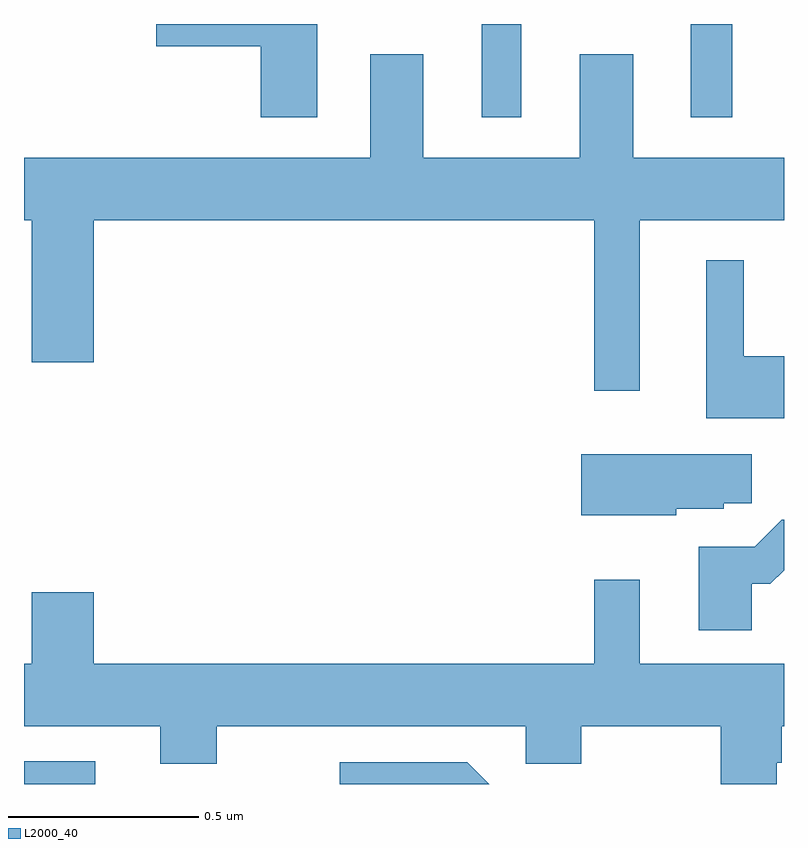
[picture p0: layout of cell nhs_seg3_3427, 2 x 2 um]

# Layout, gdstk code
import gdstk
lib = gdstk.Library(unit=1e-6, precision=1e-09)
def R(c, l, rs):  # rectangles x0, y0, x1, y1
    for r in rs: c.add(gdstk.rectangle(r[:2], r[2:], *l))
def P(c, l, *ps):  # polygons
    for p in ps: c.add(gdstk.Polygon(p, *l))
L2000_40 = (2000, 40)

nhs_seg3_3427 = lib.new_cell('nhs_seg3_3427')
R(nhs_seg3_3427, L2000_40, [(153,731.4,153.187,731.46), (154.205,733.155,154.309,733.4), (154.754,733.155,154.864,733.4)])
P(nhs_seg3_3427, L2000_40, [(153.772,733.4),(153.348,733.4),(153.348,733.342),(153.623,733.342),(153.623,733.155),(153.772,733.155)],
  [(154.621,732.884),(155,732.884),(155,733.048),(154.603,733.048),(154.603,733.321),(154.463,733.321),(154.463,733.048),(154.051,733.048),(154.051,733.321),(153.911,733.321),(153.911,733.048),(153,733.048),(153,732.884),(153.02,732.884),(153.02,732.51),(153.184,732.51),(153.184,732.884),(154.5,732.884),(154.5,732.435),(154.621,732.435)],
  [(155,732.526),(154.894,732.526),(154.894,732.778),(154.796,732.778),(154.796,732.362),(155,732.362)],
  [(154.716,732.125),(154.842,732.125),(154.842,732.139),(154.915,732.139),(154.915,732.268),(154.466,732.268),(154.466,732.107),(154.716,732.107)],
  [(154.915,731.927),(154.964,731.927),(155,731.963),(155,732.095),(154.994,732.095),(154.923,732.024),(154.775,732.024),(154.775,731.805),(154.915,731.805)],
  [(154.981,731.456),(154.994,731.456),(154.994,731.552),(155,731.552),(155,731.716),(154.621,731.716),(154.621,731.938),(154.5,731.938),(154.5,731.716),(153.184,731.716),(153.184,731.905),(153.02,731.905),(153.02,731.716),(153,731.716),(153,731.552),(153.359,731.552),(153.359,731.453),(153.507,731.453),(153.507,731.552),(154.32,731.552),(154.32,731.453),(154.467,731.453),(154.467,731.552),(154.834,731.552),(154.834,731.4),(154.981,731.4)],
  [(154.167,731.457),(153.831,731.457),(153.831,731.4),(154.224,731.4)])

lib.write_gds('nhs_seg3_3427.gds')
